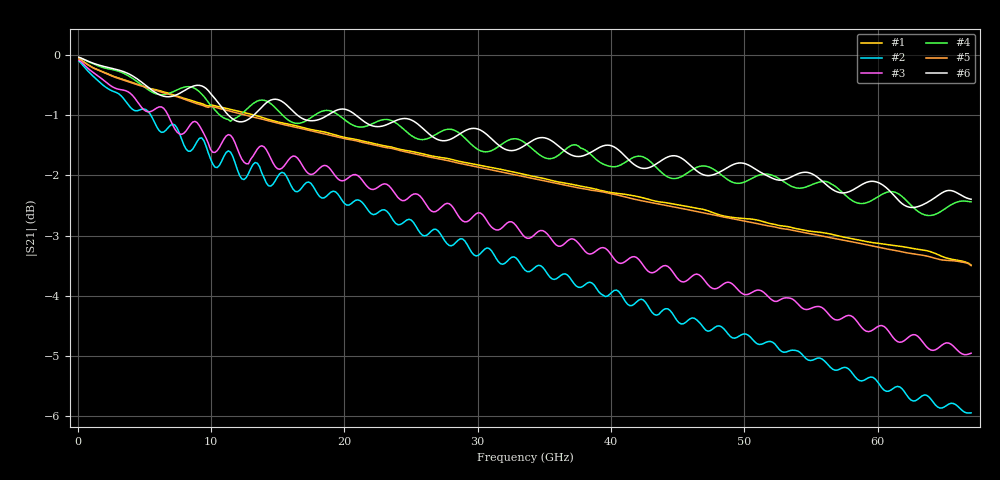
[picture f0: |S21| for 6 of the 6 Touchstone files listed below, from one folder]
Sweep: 100 MHz to 67 GHz
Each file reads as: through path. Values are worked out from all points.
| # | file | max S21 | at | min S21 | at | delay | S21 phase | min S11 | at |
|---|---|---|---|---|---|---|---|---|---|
| 1 | deembeded_w_wp_50ohm.s2p | -0.06 dB | 100 MHz | -3.5 dB | 67 GHz | 160 ps | -126 deg at 33.55 GHz | -76.7 dB | 51.28 GHz |
| 2 | DUT.s2p | -0.10 dB | 100 MHz | -5.9 dB | 66.83 GHz | 260 ps | 104 deg at 33.55 GHz | -39.2 dB | 100 MHz |
| 3 | Line1.s2p | -0.09 dB | 100 MHz | -5.0 dB | 66.5 GHz | 216 ps | -80 deg at 33.55 GHz | -40.5 dB | 100 MHz |
| 4 | Line2.s2p | -0.04 dB | 100 MHz | -2.7 dB | 63.82 GHz | 107 ps | 153 deg at 33.55 GHz | -46.8 dB | 100 MHz |
| 5 | M_TRL_w_wp_50ohm.s2p | -0.06 dB | 100 MHz | -3.5 dB | 67 GHz | 160 ps | -125 deg at 33.55 GHz | -78.9 dB | 33.22 GHz |
| 6 | Thru.s2p | -0.04 dB | 100 MHz | -2.5 dB | 62.65 GHz | 100 ps | -130 deg at 33.55 GHz | -47.0 dB | 100 MHz |
